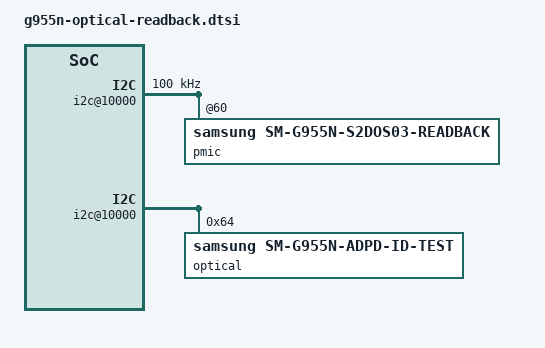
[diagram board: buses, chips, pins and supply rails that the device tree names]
// SPDX-License-Identifier: GPL-2.0-only

#include <dt-bindings/soc/samsung,exynos-usi.h>

/* S2DOS03 is on the second I2C lane of USI5. */
&{/soc@0/usi@10860000} {
	samsung,mode = <USI_MODE_I2C1>;
	status = "okay";
};

&{/soc@0/usi@10860000/i2c@10000} {
	clock-frequency = <100000>;
	status = "okay";

	pmic@60 {
		compatible = "samsung,sm-g955n-s2dos03-readback";
		status = "okay";
	};
};

&{/soc@0/usi@10900000/i2c@10000} {
	optical@64 {
		compatible = "samsung,sm-g955n-adpd-id-test";
		reg = <0x64>;
	};
};
